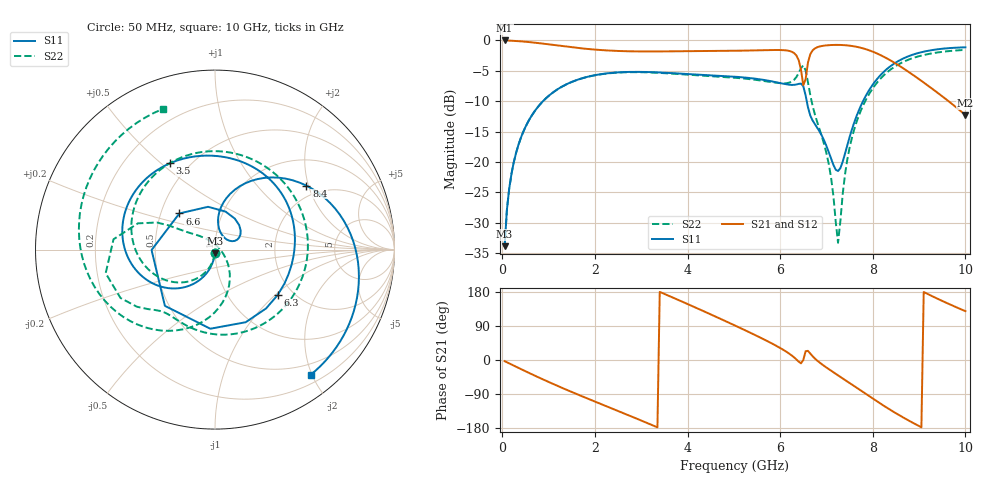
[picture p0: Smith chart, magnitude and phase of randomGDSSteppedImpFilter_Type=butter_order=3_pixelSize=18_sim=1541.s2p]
! freq	dB(S11)	phase(S11)	dB(S12)	phase(S12)
!  dB(S21)	phase(S21)	dB(S22)	phase(S22)
!S-par simulation data
#  GHz  S  DB  R 50
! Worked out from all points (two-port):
!   200 points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, 50 MHz to 10 GHz, reference 50 ohm
!   highest |S21| = 0.00 dB at 50 MHz (marker M1); lowest = -12.3 dB at 10 GHz (marker M2)
!   |S21| within 3 dB of the highest: start of sweep to 6.385 GHz; 6.624 GHz to 8.317 GHz (1.693 GHz wide, 22.7 % of centre)
!   lowest |S11| = -33.8 dB at 50 MHz (marker M3), VSWR 1.04, Z = 49.9 - j2.03 ohm
!   |S11| at or under -10 dB: start of sweep to 877.5 MHz; 6.575 GHz to 7.789 GHz (1.214 GHz wide, 16.9 % of centre)
!   |S22| runs from -33.8 to -1.6 dB; largest |S21 - S12| = 0
!   S11 on the Smith chart (normalised r, x): 50 MHz: 1.00, -0.04; 3.5 GHz: 0.39, +0.53; 6.3 GHz: 1.67, -1.04; 6.6 GHz: 0.62, +0.27; 8.4 GHz: 1.67, +1.94; 10 GHz: 0.33, -1.98
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0.05  -33.83 -92.7  -0.00 -3.0  -0.00 -3.0  -33.83 -93.3
0.2  -21.86 -101.3  -0.05 -12.0  -0.05 -12.0  -21.87 -103.5
0.5  -14.23 -117.5  -0.21 -29.7  -0.21 -29.7  -14.24 -123.0
1.75  -6.16 -176.6  -1.34 -97.2  -1.34 -97.2  -6.18 161.1
2.65  -5.20 148.0  -1.77 -142.0  -1.77 -142.0  -5.24 107.0
3.4  -5.27 121.2  -1.81 179.7  -1.81 179.7  -5.34 57.7
3.5  -5.31 117.7  -1.80 174.5  -1.80 174.5  -5.38 50.8
4.25  -5.63 91.5  -1.75 134.2  -1.75 134.2  -5.75 -2.9
5.05  -5.98 59.8  -1.69 89.6  -1.69 89.6  -6.15 -59.4
5.75  -6.63 23.0  -1.59 48.2  -1.59 48.2  -6.78 -104.3
6.3  -7.31 -36.0  -2.07 7.1  -2.07 7.1  -6.48 -134.8
6.45  -7.10 -93.4  -4.83 -8.8  -4.83 -8.8  -4.56 -152.9
6.55  -9.03 -179.6  -6.38 23.3  -6.38 23.3  -4.91 174.2
6.6  -10.97 134.6  -3.65 24.1  -3.65 24.1  -6.86 161.2
6.7  -13.16 74.5  -1.64 10.0  -1.64 10.0  -10.72 152.5
7.05  -18.38 23.8  -0.78 -24.1  -0.78 -24.1  -20.34 134.4
7.25  -21.48 51.2  -0.73 -40.6  -0.73 -40.6  -33.27 45.6
7.6  -13.48 83.5  -0.97 -69.2  -0.97 -69.2  -14.61 -63.6
8.35  -4.42 38.4  -3.14 -129.4  -3.14 -129.4  -4.99 -127.9
8.4  -4.13 35.0  -3.36 -133.2  -3.36 -133.2  -4.70 -131.9
9.2  -1.69 -13.4  -7.48 173.3  -7.48 173.3  -2.24 168.4
10  -1.13 -52.6  -12.30 128.9  -12.30 128.9  -1.56 110.5
